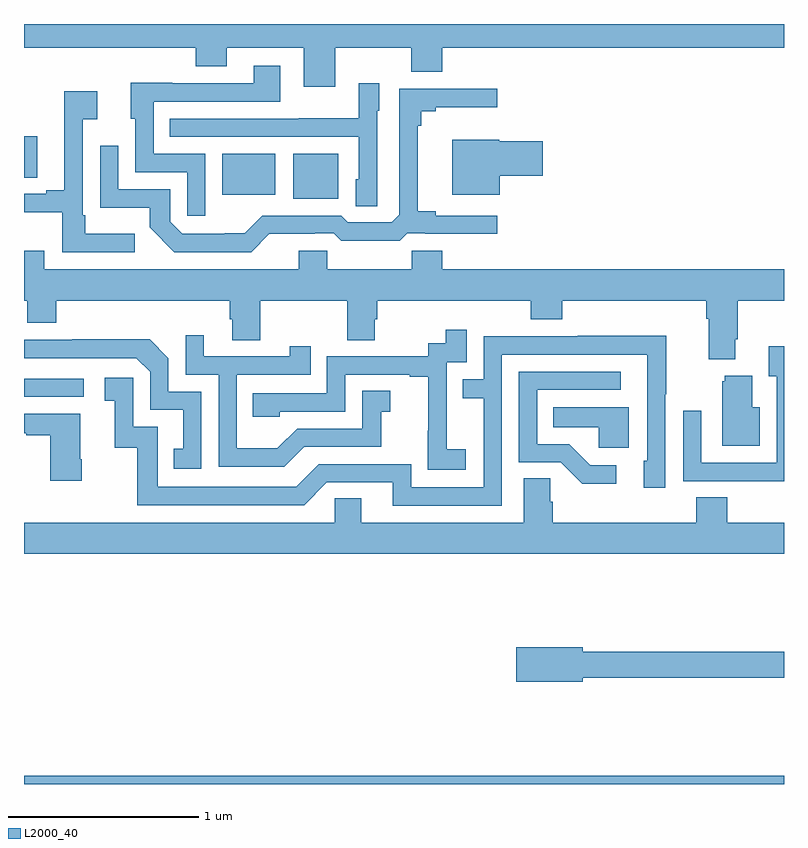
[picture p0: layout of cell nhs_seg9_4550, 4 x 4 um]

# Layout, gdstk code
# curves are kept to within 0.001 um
import gdstk
lib = gdstk.Library(unit=1e-6, precision=1e-09)
def R(c, l, rs):  # rectangles x0, y0, x1, y1
    for r in rs: c.add(gdstk.rectangle(r[:2], r[2:], *l))
def P(c, l, *ps):  # polygons
    for p in ps: c.add(gdstk.Polygon(p, *l))
L2000_40 = (2000, 40)

nhs_seg9_4550 = lib.new_cell('nhs_seg9_4550')
R(nhs_seg9_4550, L2000_40, [(371,1236.5,375,1236.544), (371,1238.538,371.314,1238.634), (372.416,1239.581,372.655,1239.817), (372.044,1239.602,372.322,1239.817), (371,1239.691,371.071,1239.91)])
P(nhs_seg9_4550, L2000_40, [(372.637,1240.376),(373.037,1240.376),(373.037,1240.248),(373.201,1240.248),(373.201,1240.376),(375,1240.376),(375,1240.5),(371,1240.5),(371,1240.376),(371.903,1240.376),(371.903,1240.277),(372.067,1240.277),(372.067,1240.376),(372.473,1240.376),(372.473,1240.17),(372.637,1240.17)],
  [(371.955,1239.816),(371.682,1239.816),(371.682,1240.092),(372.349,1240.092),(372.349,1240.279),(372.209,1240.279),(372.209,1240.188),(371.779,1240.188),(371.779,1240.19),(371.561,1240.19),(371.561,1240.002),(371.586,1240.002),(371.586,1239.72),(371.859,1239.72),(371.859,1239.492),(371.955,1239.492)],
  [(372.858,1240.044),(372.871,1240.044),(372.871,1240.189),(372.762,1240.189),(372.762,1240.003),(372.445,1240.003),(372.445,1240.002),(371.767,1240.002),(371.767,1239.906),(372.762,1239.906),(372.762,1239.684),(372.746,1239.684),(372.746,1239.541),(372.858,1239.541)],
  [(372.29,1239.395),(372.53,1239.395),(372.53,1239.399),(372.63,1239.399),(372.67,1239.36),(372.977,1239.36),(373.017,1239.399),(373.111,1239.399),(373.111,1239.395),(373.492,1239.395),(373.492,1239.492),(373.168,1239.492),(373.168,1239.515),(373.073,1239.515),(373.073,1239.965),(373.091,1239.965),(373.091,1240.042),(373.168,1240.042),(373.168,1240.061),(373.492,1240.061),(373.492,1240.158),(372.975,1240.158),(372.975,1239.495),(372.936,1239.456),(372.705,1239.456),(372.669,1239.492),(372.255,1239.492),(372.161,1239.398),(372.056,1239.398),(372.056,1239.396),(371.832,1239.396),(371.769,1239.459),(371.769,1239.63),(371.496,1239.63),(371.496,1239.859),(371.4,1239.859),(371.4,1239.533),(371.662,1239.533),(371.662,1239.431),(371.792,1239.3),(372.195,1239.3)],
  [(371.584,1239.397),(371.323,1239.397),(371.323,1239.493),(371.31,1239.493),(371.31,1239.998),(371.386,1239.998),(371.386,1240.147),(371.213,1240.147),(371.213,1239.625),(371.117,1239.625),(371.117,1239.606),(371,1239.606),(371,1239.509),(371.202,1239.509),(371.202,1239.3),(371.584,1239.3)],
  [(373.504,1239.701),(373.729,1239.701),(373.729,1239.884),(373.5,1239.884),(373.5,1239.892),(373.253,1239.892),(373.253,1239.602),(373.504,1239.602)],
  [(374.743,1238.842),(374.756,1238.842),(374.756,1239.044),(375,1239.044),(375,1239.208),(373.202,1239.208),(373.202,1239.306),(373.042,1239.306),(373.042,1239.208),(372.597,1239.208),(372.597,1239.306),(372.446,1239.306),(372.446,1239.208),(371.107,1239.208),(371.107,1239.307),(371,1239.307),(371,1239.044),(371.018,1239.044),(371.018,1238.927),(371.171,1238.927),(371.171,1239.044),(372.083,1239.044),(372.083,1238.946),(372.095,1238.946),(372.095,1238.836),(372.243,1238.836),(372.243,1239.044),(372.7,1239.044),(372.7,1238.836),(372.847,1238.836),(372.847,1238.946),(372.86,1238.946),(372.86,1239.044),(373.667,1239.044),(373.667,1238.945),(373.832,1238.945),(373.832,1239.044),(374.591,1239.044),(374.591,1238.948),(374.603,1238.948),(374.603,1238.735),(374.743,1238.735)],
  [(373.324,1238.263),(373.226,1238.263),(373.226,1238.492),(373.224,1238.492),(373.224,1238.721),(373.329,1238.721),(373.329,1238.89),(373.221,1238.89),(373.221,1238.82),(373.128,1238.82),(373.128,1238.751),(372.594,1238.751),(372.594,1238.556),(372.205,1238.556),(372.205,1238.433),(372.345,1238.433),(372.345,1238.46),(372.69,1238.46),(372.69,1238.655),(373.031,1238.655),(373.031,1238.643),(373.127,1238.643),(373.127,1238.359),(373.126,1238.359),(373.126,1238.153),(373.324,1238.153)],
  [(372.475,1238.274),(372.879,1238.274),(372.879,1238.459),(372.928,1238.459),(372.928,1238.569),(372.78,1238.569),(372.78,1238.37),(372.438,1238.37),(372.334,1238.266),(372.12,1238.266),(372.12,1238.655),(372.509,1238.655),(372.509,1238.803),(372.398,1238.803),(372.398,1238.751),(371.947,1238.751),(371.947,1238.863),(371.85,1238.863),(371.85,1238.655),(372.024,1238.655),(372.024,1238.169),(372.37,1238.169)],
  [(373.515,1238.76),(374.279,1238.76),(374.28,1238.202),(374.261,1238.202),(374.261,1238.058),(374.376,1238.058),(374.376,1238.551),(374.379,1238.551),(374.379,1238.858),(373.915,1238.858),(373.915,1238.856),(373.419,1238.856),(373.419,1238.631),(373.309,1238.631),(373.309,1238.53),(373.419,1238.53),(373.419,1238.061),(373.038,1238.061),(373.038,1238.184),(372.552,1238.184),(372.432,1238.064),(371.703,1238.064),(371.703,1238.379),(371.574,1238.379),(371.574,1238.638),(371.424,1238.638),(371.424,1238.517),(371.477,1238.517),(371.477,1238.271),(371.595,1238.271),(371.595,1237.968),(372.474,1237.968),(372.594,1238.088),(372.941,1238.088),(372.941,1237.965),(373.515,1237.965)],
  [(371.934,1238.565),(371.76,1238.565),(371.76,1238.742),(371.662,1238.84),(371.254,1238.84),(371.254,1238.838),(371,1238.838),(371,1238.742),(371.592,1238.742),(371.664,1238.67),(371.664,1238.469),(371.837,1238.469),(371.837,1238.265),(371.788,1238.265),(371.788,1238.16),(371.934,1238.16)],
  [(375,1238.803),(374.921,1238.803),(374.921,1238.647),(374.961,1238.647),(374.961,1238.19),(374.565,1238.19),(374.565,1238.464),(374.469,1238.464),(374.469,1238.094),(374.785,1238.094),(374.785,1238.093),(375,1238.093)],
  [(374.116,1238.178),(373.981,1238.178),(373.87,1238.289),(373.701,1238.289),(373.701,1238.574),(374.14,1238.574),(374.14,1238.67),(373.605,1238.67),(373.605,1238.193),(373.824,1238.193),(373.937,1238.081),(374.116,1238.081)],
  [(374.872,1238.482),(374.833,1238.482),(374.833,1238.65),(374.687,1238.65),(374.687,1238.619),(374.675,1238.619),(374.675,1238.279),(374.872,1238.279)],
  [(374.182,1238.482),(373.786,1238.482),(373.786,1238.378),(374.025,1238.378),(374.025,1238.27),(374.182,1238.27)],
  [(371.304,1238.209),(371.296,1238.209),(371.296,1238.449),(371,1238.449),(371,1238.345),(371.012,1238.345),(371.012,1238.335),(371.138,1238.335),(371.138,1238.097),(371.304,1238.097)],
  [(375,1237.876),(374.702,1237.876),(374.702,1238.009),(374.537,1238.009),(374.537,1237.876),(373.784,1237.876),(373.784,1237.985),(373.77,1237.985),(373.77,1238.108),(373.631,1238.108),(373.631,1237.876),(372.775,1237.876),(372.775,1238.003),(372.636,1238.003),(372.636,1237.876),(371,1237.876),(371,1237.712),(375,1237.712)],
  [(373.942,1237.06),(375,1237.06),(375,1237.196),(373.942,1237.196),(373.942,1237.22),(373.59,1237.22),(373.59,1237.037),(373.942,1237.037)])

lib.write_gds('nhs_seg9_4550.gds')
